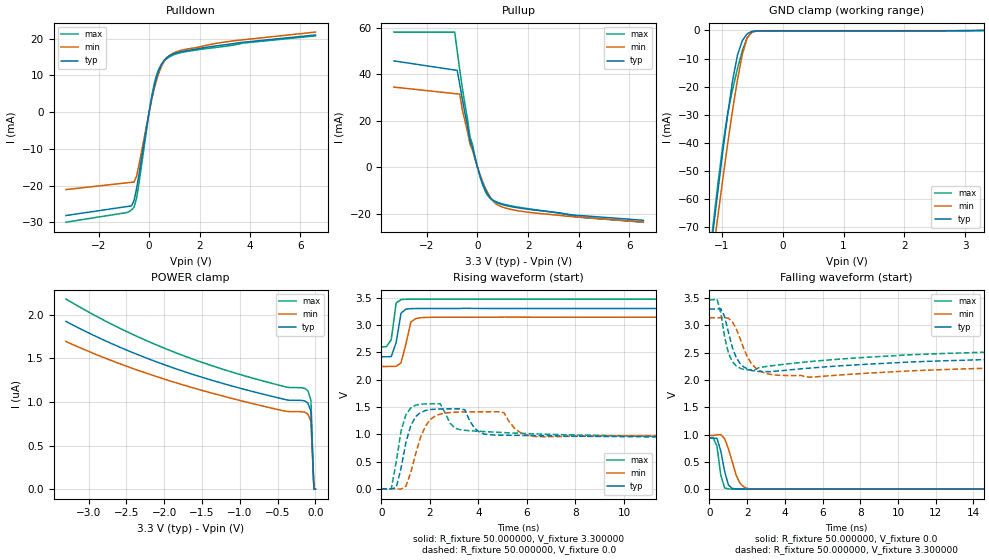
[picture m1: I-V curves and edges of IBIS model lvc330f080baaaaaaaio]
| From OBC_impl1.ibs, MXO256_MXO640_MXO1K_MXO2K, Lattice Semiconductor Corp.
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[Model]   lvc330f080baaaaaaaio
Model_type   I/O
Polarity   Non-Inverting
Enable   Active-Low
Vinl =   0.800000V
Vinh =   2.000000V
Vmeas =   1.650000V
Cref =   0.0F
Rref =   1.000000M
Vref =   0.0V
C_comp   2.68pF   2.54pF   2.92pF
[Temperature Range]   25.000000   0.105000k   -40.000000
[Voltage Range]   3.300000V   3.140000V   3.470000V
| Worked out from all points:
|   slope of the pulldown table from 0 to 0.495 V, typ, clamps not added: 38.1 ohm
|   slope of the pullup table from 0 to 0.495 V, typ, clamps not added: 37.7 ohm
|   GND clamp passes 1 mA (typ) near -0.56 V on its own axis
|   rising waveform, R_fixture 50.000000, V_fixture 3.300000: 20-80 % time 234ps typ, 292ps min, 157ps max; typ from 2.42 V to 3.3 V
|   rising waveform, R_fixture 50.000000, V_fixture 0.0: 20-80 % time 266ps typ, 379ps min, 219ps max; typ from 0.002 V to 0.939 V
|   falling waveform, R_fixture 50.000000, V_fixture 0.0: 20-80 % time 358ps typ, 543ps min, 248ps max; typ from 0.936 V to 0.002 V
|   falling waveform, R_fixture 50.000000, V_fixture 3.300000: 20-80 % time 397ps typ, 622ps min, 288ps max; typ from 3.3 V to 2.41 V
[Pulldown]
|Voltage   I(typ)   I(min)   I(max)
-3.3V     -28.14mA   -21.07mA   -29.95mA
-900mV    -25.72mA   -19.25mA   -27.35mA
-700mV    -25.51mA   -19.1mA    -26.6mA
-600mV    -24.06mA   -19.02mA   -25.86mA
-500mV    -20.81mA   -17.47mA   -23.46mA
0V        8.471uA    6.104uA    10.88uA
200mV     6.977mA    6.299mA    7.677mA
400mV     11.62mA    10.94mA    11.98mA
700mV     14.82mA    14.74mA    14.52mA
1.2V      16.32mA    16.67mA    16.08mA
2.6V      17.96mA    18.62mA    17.55mA
6.6V      20.98mA    21.76mA    20.72mA
[Pullup]
|Voltage   I(typ)   I(min)   I(max)
-3.3V     45.8mA     34.5mA     58.22mA
-900mV    41.86mA    31.71mA    58.18mA
-800mV    41.7mA     31.59mA    50mA
-700mV    35.68mA    31.47mA    41.94mA
-600mV    29.36mA    24.87mA    34.32mA
-300mV    11.43mA    10.1mA     13.25mA
200mV     -6.815mA   -6.151mA   -7.556mA
500mV     -13.21mA   -12.83mA   -13.41mA
800mV     -15.42mA   -16.29mA   -15.17mA
1.6V      -17.53mA   -18.78mA   -17.22mA
3.9V      -20.72mA   -21.41mA   -21.48mA
6.55V     -22.89mA   -23.63mA   -23.71mA
[GND_clamp]
|Voltage   I(typ)   I(min)   I(max)
-3.3V     -966.2mA   -950.5mA   -981.2mA
-1.14V    -71.67mA   -79.64mA   -69.56mA
-1.06V    -57.22mA   -66.15mA   -54.66mA
-980mV    -43.22mA   -53.02mA   -40.89mA
-900mV    -29.93mA   -40.41mA   -29.65mA
-820mV    -17.98mA   -28.51mA   -21.11mA
-740mV    -8.854mA   -17.68mA   -13.65mA
-660mV    -3.663mA   -8.578mA   -7.238mA
-580mV    -1.172mA   -2.564mA   -2.648mA
-500mV    -318.1uA   -464.4uA   -594.8uA
-340mV    -109.5uA   -92.67uA   -122uA
3.3V      149.5nA    48.45uA    -62.15uA
[POWER_clamp]
|Voltage   I(typ)   I(min)   I(max)
-3.3V     1.925uA    1.695uA    2.182uA
-2.9V     1.752uA    1.546uA    1.986uA
-2.54V    1.612uA    1.424uA    1.827uA
-1.74V    1.351uA    1.194uA    1.531uA
-1.26V    1.222uA    1.077uA    1.386uA
-700mV    1.092uA    955nA      1.244uA
-380mV    1.025uA    892.7nA    1.171uA
-140mV    1.013uA    883.4nA    1.157uA
-100mV    988.7nA    862.5nA    1.13uA
-60mV     893nA      779.1nA    1.02uA
-20mV     1.5pA      1.2pA      1.8pA
0V        0A         0A         0A
[Ramp]
| variable   typ   min   max
dV/dt_r  0.562231/0.263736n  0.588295/0.375059n  0.565756/0.216292n
dV/dt_f  0.536160/0.392934n  0.533460/0.616163n  0.555300/0.284784n
R_load = 50.000000
[Rising Waveform]
R_fixture=   50.000000
V_fixture=   3.300000
V_fixture_min=   3.140000
V_fixture_max=   3.470000
|time   V(typ)   V(min)   V(max)
0s        2.416V     2.239V     2.598V
202ps     2.416V     2.238V     2.601V
404ps     2.42V      2.24V      2.728V
606.1ps   2.676V     2.241V     3.401V
808.1ps   3.215V     2.307V     3.463V
1.01ns    3.288V     2.651V     3.469V
1.212ns   3.296V     3.052V     3.47V
1.414ns   3.299V     3.114V     3.47V
1.616ns   3.3V       3.132V     3.47V
20ns      3.3V       3.14V      3.47V
[Rising Waveform]
R_fixture=   50.000000
V_fixture=   0.0
V_fixture_min=   0.0
V_fixture_max=   0.0
|time   V(typ)   V(min)   V(max)
0s        1.608mV    1.468mV    1.613mV
404ps     -873uV     1.487mV    -798.7uV
606.1ps   21.29mV    808.2uV    485.6mV
1.01ns    850.8mV    47.48mV    1.358V
1.616ns   1.398V     950mV      1.549V
2.222ns   1.458V     1.334V     1.556V
3.434ns   1.447V     1.407V     1.071V
4.04ns    1.037V     1.409V     1.053V
6.263ns   973.6mV    959.9mV    1.007V
20ns      938.7mV    982mV      944.5mV
[Falling Waveform]
R_fixture=   50.000000
V_fixture=   0.0
V_fixture_min=   0.0
V_fixture_max=   0.0
|time   V(typ)   V(min)   V(max)
0s        935.9mV    984.6mV    941.9mV
202ps     936mV      984.6mV    946.6mV
404ps     931.4mV    997.2mV    786.7mV
606.1ps   698.5mV    999.5mV    256.9mV
808.1ps   328.1mV    926.5mV    24.37mV
1.01ns    76.85mV    740.8mV    5.116mV
1.414ns   5.484mV    264mV      1.897mV
1.616ns   3.204mV    112.9mV    1.545mV
2.02ns    1.937mV    13.84mV    1.339mV
20ns      1.578mV    1.489mV    1.55mV
[Falling Waveform]
R_fixture=   50.000000
V_fixture=   3.300000
V_fixture_min=   3.140000
V_fixture_max=   3.470000
|time   V(typ)   V(min)   V(max)
0s        3.3V       3.14V      3.47V
404ps     3.301V     3.139V     3.482V
606.1ps   3.303V     3.14V      3.228V
1.01ns    2.874V     3.132V     2.495V
1.414ns   2.42V      2.946V     2.261V
1.818ns   2.241V     2.581V     2.195V
2.222ns   2.176V     2.306V     2.185V
2.828ns   2.154V     2.142V     2.238V
5.253ns   2.216V     2.053V     2.335V
20ns      2.406V     2.251V     2.545V
